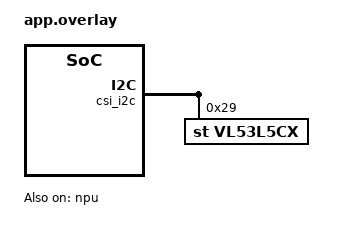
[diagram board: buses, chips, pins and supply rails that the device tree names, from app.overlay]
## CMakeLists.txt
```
cmake_minimum_required(VERSION 3.20.0)

set(BOARD stm32n6570_dk)
set(SHIELD st_b_cams_imx_mb1854)

find_package(Zephyr REQUIRED HINTS $ENV{ZEPHYR_BASE})

project(app LANGUAGES C)

target_sources(app PRIVATE
    src/main.c
    src/tof_display.c
)

target_link_libraries(app PRIVATE ${CMAKE_CURRENT_SOURCE_DIR}/src/libneai.a)
```

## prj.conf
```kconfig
CONFIG_MY_APP=y
CONFIG_MAIN_STACK_SIZE=32768
# CONFIG_XIP is not set
# CONFIG_USE_STM32_MW_ISP=y
CONFIG_DYNAMIC_INTERRUPTS=y
CONFIG_FLASH=y
CONFIG_HW_STACK_PROTECTION=y
CONFIG_GPIO=y
CONFIG_SERIAL=y
CONFIG_LOG=y
CONFIG_ASSERT=n
CONFIG_CONSOLE=y
CONFIG_UART_CONSOLE=y
CONFIG_I2C=y
CONFIG_SENSOR=y
CONFIG_VL53L5CX=y

# Display / LVGL
CONFIG_DISPLAY=y
CONFIG_LVGL=y
CONFIG_LV_Z_MEM_POOL_SIZE=65536
CONFIG_LV_FONT_MONTSERRAT_14=y
CONFIG_LV_FONT_MONTSERRAT_28=y

CONFIG_FPU=y
```

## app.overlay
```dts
/*
 * Copyright (c) 2025 STMicroelectronics.
 * All rights reserved.
 *
 * This software is licensed under terms that can be found in the LICENSE file
 * in the root directory of this software component.
 * If no LICENSE file comes with this software, it is provided AS-IS.
 */

/ {
	chosen {
		zephyr,camera_aux = &pipe_aux;
	};
};

// Turn on so called npu rams. They will used by NPU for model actvation buffers
&axisram3 {
	status = "okay";
};
&axisram4 {
	status = "okay";
};
&axisram5 {
	status = "okay";
};
&axisram6 {
	status = "okay";
};

&csi_i2c {
	status = "okay";

	vl53l5cx: vl53l5cx@29 {
		compatible = "st,vl53l5cx";
		reg = <0x29>;          /* default 7-bit address (8-bit: 0x52) */

		ranging-profile = <3>; /* VL53L5CX_PROFILE_8x8_CONTINUOUS     */
		timing-budget   = <30>;
		frequency       = <5>;
	};
};

// Turn on npu
&npu {
	status = "okay";
};

// Temporary patch that allows to turn on cache on psram
// Remove this when merge upstream
&psram {
	/* Prevent access to the last 32bytes of the memory-mapped device */
	reg = <0x90000000 (DT_SIZE_M(32) - 32)>;
	zephyr,memory-attr = <DT_MEM_ARM(ATTR_MPU_RAM)>;
};
```

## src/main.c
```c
#include <string.h>

#include <zephyr/kernel.h>
#include <zephyr/logging/log.h>
#include <zephyr/device.h>
#include <zephyr/drivers/gpio.h>
#include <zephyr/drivers/display.h>
#include <zephyr/drivers/sensor.h>
#include <lvgl.h>

#include "tof_display.h"
#include "NanoEdgeAI.h"

LOG_MODULE_REGISTER(tof_ai);

#define LED0_NODE DT_ALIAS(led0)
static const struct gpio_dt_spec led    = GPIO_DT_SPEC_GET(LED0_NODE, gpios);
static const struct device       *tof_dev = DEVICE_DT_GET(DT_NODELABEL(vl53l5cx));

/* ── Shared AI result (ToF thread → display thread) ─────────────────────── */

static K_MUTEX_DEFINE(g_ai_lock);
static struct {
    int   id_class;
    float probabilities[NEAI_NUMBER_OF_CLASSES];
    bool  fresh;
} g_ai;

/* ── Thread stacks ───────────────────────────────────────────────────────── */

#define LED_STACK_SIZE     1024
#define TOF_STACK_SIZE     8192   /* extra headroom for NEAI inference */
#define DISPLAY_STACK_SIZE 32768

K_THREAD_STACK_DEFINE(led_stack,     LED_STACK_SIZE);
K_THREAD_STACK_DEFINE(tof_stack,     TOF_STACK_SIZE);
K_THREAD_STACK_DEFINE(display_stack, DISPLAY_STACK_SIZE);

static struct k_thread led_thread, tof_thread, display_thread;

/* ── LED heartbeat ───────────────────────────────────────────────────────── */

static void led_thread_func(void *p1, void *p2, void *p3)
{
    while (1) {
        gpio_pin_toggle_dt(&led);
        k_msleep(500);
    }
}

/* ── ToF fetch + NEAI inference ──────────────────────────────────────────── */

static void tof_thread_func(void *p1, void *p2, void *p3)
{
    if (!device_is_ready(tof_dev)) {
        LOG_ERR("VL53L5CX device not ready");
        return;
    }

    float input_signal[NEAI_INPUT_SIGNAL_LENGTH * NEAI_INPUT_AXIS_NUMBER];
    float probabilities[NEAI_NUMBER_OF_CLASSES];
    int   id_class = 0;

    while (1) {
        if (sensor_sample_fetch(tof_dev) != 0) {
            LOG_ERR("ToF fetch failed");
            k_msleep(200);
            continue;
        }

        for (int z = 0; z < NEAI_INPUT_SIGNAL_LENGTH; z++) {
            struct sensor_value sv = {0};
            sensor_channel_get(tof_dev,
                               (enum sensor_channel)(SENSOR_CHAN_PRIV_START + z),
                               &sv);
            bool valid = (sv.val2 == 0) && (sv.val1 > 0);
            input_signal[z] = valid ? (float)sv.val1 : 2555.0f;
        }

        neai_classification(input_signal, probabilities, &id_class);

        k_mutex_lock(&g_ai_lock, K_FOREVER);
        g_ai.id_class = id_class;
        memcpy(g_ai.probabilities, probabilities, sizeof(probabilities));
        g_ai.fresh = true;
        k_mutex_unlock(&g_ai_lock);
    }
}

/* ── Display / LVGL ──────────────────────────────────────────────────────── */

static void display_thread_func(void *p1, void *p2, void *p3)
{
    const struct device *disp_dev = DEVICE_DT_GET(DT_CHOSEN(zephyr_display));

    if (!device_is_ready(disp_dev)) {
        LOG_ERR("Display not ready");
        return;
    }

    if (tof_display_init(disp_dev) != 0) {
        LOG_ERR("Display init failed");
        return;
    }

    float probs_snap[NEAI_NUMBER_OF_CLASSES] = {0};
    int   class_snap = -1;

    while (1) {
        if (k_mutex_lock(&g_ai_lock, K_NO_WAIT) == 0) {
            if (g_ai.fresh) {
                class_snap = g_ai.id_class;
                memcpy(probs_snap, g_ai.probabilities, sizeof(probs_snap));
                g_ai.fresh = false;
                k_mutex_unlock(&g_ai_lock);

                tof_display_update_ai(class_snap, probs_snap);
            } else {
                k_mutex_unlock(&g_ai_lock);
            }
        }

        lv_timer_handler();
        k_msleep(16);
    }
}

/* ── Entry point ─────────────────────────────────────────────────────────── */

int main(void)
{
    if (device_is_ready(led.port)) {
        gpio_pin_configure_dt(&led, GPIO_OUTPUT_ACTIVE);
    }

    enum neai_state rc = neai_classification_init();
    if (rc != NEAI_OK) {
        LOG_ERR("neai_classification_init failed: %d", rc);
        return -1;
    }

    k_thread_create(&led_thread, led_stack, LED_STACK_SIZE,
                    led_thread_func, NULL, NULL, NULL,
                    K_PRIO_PREEMPT(8), 0, K_NO_WAIT);

    k_thread_create(&tof_thread, tof_stack, TOF_STACK_SIZE,
                    tof_thread_func, NULL, NULL, NULL,
                    K_PRIO_PREEMPT(7), 0, K_NO_WAIT);

    k_thread_create(&display_thread, display_stack, DISPLAY_STACK_SIZE,
                    display_thread_func, NULL, NULL, NULL,
                    K_PRIO_PREEMPT(5), 0, K_NO_WAIT);

    return 0;
}
```

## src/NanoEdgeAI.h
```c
/* =============
Copyright (c) 2026, STMicroelectronics

All rights reserved.

Redistribution and use in source and binary forms, with or without modification, are permitted
provided that the following conditions are met:

* Redistributions of source code must retain the above copyright notice, this list of conditions
  and the following disclaimer.

* Redistributions in binary form must reproduce the above copyright notice, this list of
  conditions and the following disclaimer in the documentation and/or other materials provided
  with the distribution.

* Neither the name of the copyright holders nor the names of its contributors may be used to
  endorse or promote products derived from this software without specific prior written
  permission.

*THIS SOFTWARE IS PROVIDED BY THE COPYRIGHT HOLDERS AND CONTRIBUTORS "AS IS" AND ANY EXPRESS OR
 IMPLIED WARRANTIES, INCLUDING, BUT NOT LIMITED TO, THE IMPLIED WARRANTIES OF MERCHANTABILITY
 AND FITNESS FOR A PARTICULAR PURPOSE ARE DISCLAIMED. IN NO EVENT SHALL THE COPYRIGHT HOLDER /
 OWNER OR CONTRIBUTORS BE LIABLE FOR ANY DIRECT, INDIRECT, INCIDENTAL, SPECIAL, EXEMPLARY, OR
 CONSEQUENTIAL DAMAGES (INCLUDING, BUT NOT LIMITED TO, PROCUREMENT OF SUBSTITUTE GOODS OR
 SERVICES; LOSS OF USE, DATA, OR PROFITS; OR BUSINESS INTERRUPTION) HOWEVER CAUSED AND ON ANY
 THEORY OF LIABILITY, WHETHER IN CONTRACT, STRICT LIABILITY, OR TORT (INCLUDING NEGLIGENCE OR
 OTHERWISE) ARISING IN ANY WAY OUT OF THE USE OF THIS SOFTWARE, EVEN IF ADVISED OF THE
 POSSIBILITY OF SUCH DAMAGE.*
*/


#ifndef NANOEDGEAI_H
#define NANOEDGEAI_H

#include <stdint.h>

/* NEAI ID */
#define NEAI_ID "6a0041941c2e325ba5cc6004"

/* Input signal configuration */
#define NEAI_INPUT_SIGNAL_LENGTH 64
#define NEAI_INPUT_AXIS_NUMBER 1


/* Classification configuration */
#define NEAI_NUMBER_OF_CLASSES 6

/* NEAI State Enum */
enum neai_state {
	NEAI_OK = 0,
	NEAI_ERROR = 1,
	NEAI_NOT_INITIALIZED = 2,
	NEAI_INVALID_PARAM = 3,
	NEAI_NOT_SUPPORTED = 4,
	NEAI_LEARNING_DONE = 5,
	NEAI_LEARNING_IN_PROGRESS = 6
};


#ifdef __cplusplus
extern "C" {
#endif

/**
 * @brief  Must be called at the beginning to initialize the classification model by loading the
 *         pretrained model.
 * @return NEAI_OK on success, error code otherwise.
 */
enum neai_state neai_classification_init(void);

/**
 * @brief  Perform classification on a new input sample by returning the probability for each
 *         class and the predicted class ID.
 * @param  in             [in]   Pointer to the input signal array
 *                               (size NEAI_INPUT_SIGNAL_LENGTH * NEAI_INPUT_AXIS_NUMBER).
 * @param  probabilities  [out]  Pointer to the output probabilities array
 *                               (size NEAI_NUMBER_OF_CLASSES).
 * @param  id_class       [out]  Pointer to the predicted class ID
 *                               (integer in range [0, NEAI_NUMBER_OF_CLASSES - 1]).
 * @return NEAI_OK on success.
 *         Error code otherwise.
 */
enum neai_state neai_classification(float *in, float *probabilities, int *id_class);

/* ===== Common getter functions ===== */
/**
 * @brief  Get the NEAI identifier.
 * @return Pointer to a string containing the NEAI ID.
 */
char* neai_get_id(void);

/**
 * @brief  Get the input signal size (number of samples per axis).
 * @return Input signal size.
 */
int neai_get_input_signal_size(void);

/**
 * @brief  Get the number of input axes/channels.
 * @return Number of input axes.
 */
int neai_get_axis_number(void);


/* ===== Specific classification getter functions ===== */
/**
 * @brief  Get the number of classes in the classification model.
 * @return Number of classes.
 */
int neai_get_number_of_classes(void);

/**
 * @brief  Get the class name for a given class ID.
 * @param  id_class [in]  Class ID
 *                        (integer in range [0, NEAI_NUMBER_OF_CLASSES - 1]).
 * @return Pointer to the class name string, or NULL if the ID is invalid.
 */
const char* neai_get_class_name(int id_class);


#ifdef __cplusplus
}
#endif

#endif /* NANOEDGEAI_H */


/* =============
Declarations to add to your main program to use the NanoEdge AI library.
You may copy-paste them directly or rename variables as needed.
WARNING: Respect the structures, types, and buffer sizes; only variable names may be changed.

enum neai_state state;   // Captures return states from NEAI functions
int id_class;   // Predicted class ID returned by classification function
float input_signal[NEAI_INPUT_SIGNAL_LENGTH * NEAI_INPUT_AXIS_NUMBER];   // Input signal buffer
float probabilities[NEAI_NUMBER_OF_CLASSES];   // Output probabilities buffer returned by classification function
============= */
```

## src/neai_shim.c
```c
#include <math.h>

/*
 * libneai.a was compiled against the ARM toolchain's libm, which exposes
 * expf() under the hard-float ABI mangled name __hardfp_expf.
 * Zephyr's picolibc exports the same function as plain expf().
 * This shim makes the linker happy.
 */
float __hardfp_expf(float x) { return expf(x); }
```

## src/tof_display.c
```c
#include "tof_display.h"

#include <stdio.h>
#include <lvgl.h>
#include <zephyr/drivers/display.h>

/* ── Layout ──────────────────────────────────────────────────────────────── */

#define DISP_W       800
#define DISP_H       480
#define HEADER_H      48
#define PRED_Y       (HEADER_H + 6)
#define PRED_H       160
#define BARS_Y       (PRED_Y + PRED_H + 6)
#define BAR_GAP        4
#define BARS_TOTAL   (DISP_H - BARS_Y - 4)
#define BAR_H        ((BARS_TOTAL - (NEAI_NUMBER_OF_CLASSES - 1) * BAR_GAP) \
                      / NEAI_NUMBER_OF_CLASSES)
#define LABEL_COL_W  100
#define PCT_COL_W     64
#define BAR_PAD        4
#define BAR_X        (LABEL_COL_W + BAR_PAD)
#define BAR_W        (DISP_W - BAR_X - PCT_COL_W - BAR_PAD)

/* ── Per-class accent colors ─────────────────────────────────────────────── */

static const uint32_t CLASS_COLORS[NEAI_NUMBER_OF_CLASSES] = {
    0x22aa44,  /* OK       – green   */
    0xdd2222,  /* STOP     – red     */
    0x2266cc,  /* THUMB_UP – blue    */
    0x8833aa,  /* VICTORIA – purple  */
    0xff6600,  /* FUCK     – orange  */
    0x556677,  /* OTHER    – slate   */
};

/* ── Module state ────────────────────────────────────────────────────────── */

static lv_obj_t *pred_box;
static lv_obj_t *pred_class_label;
static lv_obj_t *pred_conf_label;
static lv_obj_t *bar_fills[NEAI_NUMBER_OF_CLASSES];
static lv_obj_t *pct_labels[NEAI_NUMBER_OF_CLASSES];

/* ── Public API ──────────────────────────────────────────────────────────── */

int tof_display_init(const struct device *disp_dev)
{
    if (lv_disp_get_default() == NULL) {
        return -ENODEV;
    }

    (void)display_set_pixel_format(disp_dev, PIXEL_FORMAT_RGB_565);
    display_blanking_off(disp_dev);

    lv_obj_t *scr = lv_scr_act();
    lv_obj_set_style_bg_color(scr, lv_color_hex(0x0d1117), LV_PART_MAIN);
    lv_obj_set_style_bg_opa(scr, LV_OPA_COVER, LV_PART_MAIN);

    /* Title */
    lv_obj_t *title = lv_label_create(scr);
    lv_label_set_text(title, "VL53L5CX  ToF  AI  Classification");
    lv_obj_set_style_text_color(title, lv_color_hex(0xc0d0e0), LV_PART_MAIN);
    lv_obj_set_style_text_font(title, &lv_font_montserrat_14, LV_PART_MAIN);
    lv_obj_align(title, LV_ALIGN_TOP_MID, 0, 14);

    /* Prediction box */
    pred_box = lv_obj_create(scr);
    lv_obj_set_pos(pred_box, 0, PRED_Y);
    lv_obj_set_size(pred_box, DISP_W, PRED_H);
    lv_obj_set_style_radius(pred_box, 12, LV_PART_MAIN);
    lv_obj_set_style_border_width(pred_box, 0, LV_PART_MAIN);
    lv_obj_set_style_bg_color(pred_box, lv_color_hex(0x556677), LV_PART_MAIN);
    lv_obj_set_style_pad_all(pred_box, 0, LV_PART_MAIN);
    lv_obj_clear_flag(pred_box, LV_OBJ_FLAG_SCROLLABLE);

    pred_class_label = lv_label_create(pred_box);
    lv_label_set_text(pred_class_label, "---");
    lv_obj_set_style_text_color(pred_class_label, lv_color_hex(0xffffff), LV_PART_MAIN);
    lv_obj_set_style_text_font(pred_class_label, &lv_font_montserrat_28, LV_PART_MAIN);
    lv_obj_align(pred_class_label, LV_ALIGN_CENTER, 0, -14);

    pred_conf_label = lv_label_create(pred_box);
    lv_label_set_text(pred_conf_label, "");
    lv_obj_set_style_text_color(pred_conf_label, lv_color_hex(0xe0e8f0), LV_PART_MAIN);
    lv_obj_set_style_text_font(pred_conf_label, &lv_font_montserrat_14, LV_PART_MAIN);
    lv_obj_align(pred_conf_label, LV_ALIGN_CENTER, 0, 22);

    /* Probability bars */
    for (int i = 0; i < NEAI_NUMBER_OF_CLASSES; i++) {
        int y = BARS_Y + i * (BAR_H + BAR_GAP);

        /* Class name label */
        lv_obj_t *lbl = lv_label_create(scr);
        lv_label_set_text(lbl, neai_get_class_name(i));
        lv_obj_set_style_text_color(lbl, lv_color_hex(0xc0d0e0), LV_PART_MAIN);
        lv_obj_set_style_text_font(lbl, &lv_font_montserrat_14, LV_PART_MAIN);
        lv_obj_set_pos(lbl, BAR_PAD, y + (BAR_H - 14) / 2);

        /* Bar background */
        lv_obj_t *bar_bg = lv_obj_create(scr);
        lv_obj_set_pos(bar_bg, BAR_X, y);
        lv_obj_set_size(bar_bg, BAR_W, BAR_H);
        lv_obj_set_style_radius(bar_bg, 4, LV_PART_MAIN);
        lv_obj_set_style_border_width(bar_bg, 0, LV_PART_MAIN);
        lv_obj_set_style_bg_color(bar_bg, lv_color_hex(0x1e2a38), LV_PART_MAIN);
        lv_obj_set_style_pad_all(bar_bg, 0, LV_PART_MAIN);
        lv_obj_clear_flag(bar_bg, LV_OBJ_FLAG_SCROLLABLE);

        /* Bar fill */
        lv_obj_t *fill = lv_obj_create(bar_bg);
        lv_obj_set_pos(fill, 0, 0);
        lv_obj_set_size(fill, 1, BAR_H);
        lv_obj_set_style_radius(fill, 4, LV_PART_MAIN);
        lv_obj_set_style_border_width(fill, 0, LV_PART_MAIN);
        lv_obj_set_style_bg_color(fill, lv_color_hex(CLASS_COLORS[i]), LV_PART_MAIN);
        lv_obj_set_style_pad_all(fill, 0, LV_PART_MAIN);
        lv_obj_clear_flag(fill, LV_OBJ_FLAG_SCROLLABLE);
        bar_fills[i] = fill;

        /* Percentage label */
        lv_obj_t *pct = lv_label_create(scr);
        lv_label_set_text(pct, "0.0%");
        lv_obj_set_style_text_color(pct, lv_color_hex(0x90a8c0), LV_PART_MAIN);
        lv_obj_set_style_text_font(pct, &lv_font_montserrat_14, LV_PART_MAIN);
        lv_obj_set_pos(pct, BAR_X + BAR_W + BAR_PAD, y + (BAR_H - 14) / 2);
        pct_labels[i] = pct;
    }

    lv_timer_handler();
    return 0;
}

void tof_display_update_ai(int id_class,
                            const float probabilities[NEAI_NUMBER_OF_CLASSES])
{
    /* Prediction box */
    bool valid = (id_class >= 0 && id_class < NEAI_NUMBER_OF_CLASSES);
    uint32_t col = valid ? CLASS_COLORS[id_class] : 0x556677U;
    lv_obj_set_style_bg_color(pred_box, lv_color_hex(col), LV_PART_MAIN);
    lv_label_set_text(pred_class_label,
                      valid ? neai_get_class_name(id_class) : "---");

    char buf[32];
    if (valid) {
        snprintf(buf, sizeof(buf), "Confidence: %.1f%%",
                 probabilities[id_class] * 100.0f);
        lv_label_set_text(pred_conf_label, buf);
    } else {
        lv_label_set_text(pred_conf_label, "");
    }

    /* Probability bars */
    for (int i = 0; i < NEAI_NUMBER_OF_CLASSES; i++) {
        int fill_w = (int)(probabilities[i] * (float)BAR_W);
        lv_obj_set_width(bar_fills[i], fill_w > 1 ? fill_w : 1);

        snprintf(buf, sizeof(buf), "%.1f%%", probabilities[i] * 100.0f);
        lv_label_set_text(pct_labels[i], buf);
    }
}
```

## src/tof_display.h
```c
#pragma once

#include <zephyr/device.h>
#include "NanoEdgeAI.h"

int  tof_display_init(const struct device *disp_dev);
void tof_display_update_ai(int id_class,
                            const float probabilities[NEAI_NUMBER_OF_CLASSES]);
```
